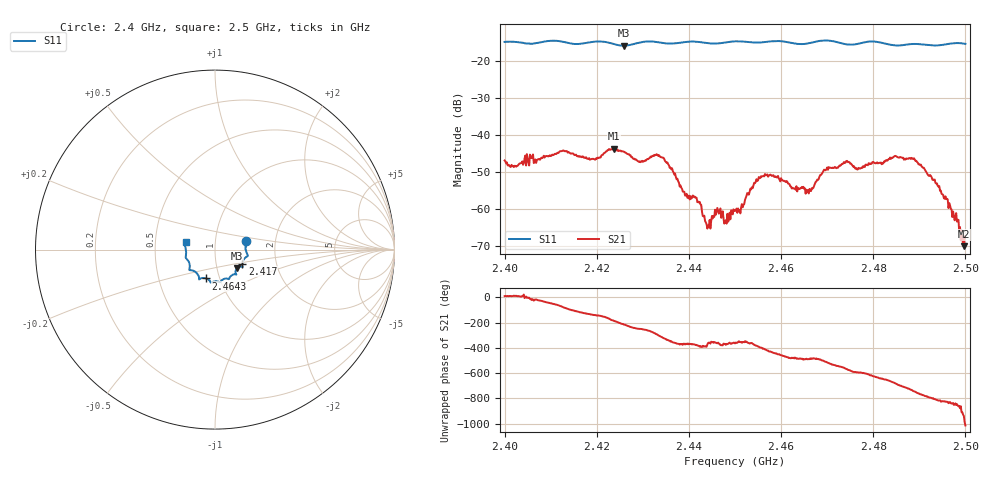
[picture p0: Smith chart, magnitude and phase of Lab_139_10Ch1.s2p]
# Hz S RI R 50
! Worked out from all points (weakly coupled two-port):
!   601 points, 2.4 GHz to 2.5 GHz, reference 50 ohm
!   highest |S21| = -43.74 dB at 2.4237 GHz (marker M1); lowest = -70.0 dB at 2.4997 GHz (marker M2)
!   lowest |S11| = -15.9 dB at 2.4258 GHz (marker M3), VSWR 1.38, Z = 62.3 - j13.2 ohm
!   |S11| at or under -10 dB: start of sweep to end of sweep
!   S12 and S22 are empty: the file has one direction only
!   S11 on the Smith chart (normalised r, x): 2.4 GHz: 1.41, +0.14; 2.417 GHz: 1.34, -0.22; 2.4643 GHz: 0.86, -0.28; 2.5 GHz: 0.72, +0.06
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2.4e9  0.1733 0.0489  0.00444 0.000824  0 0  0 0
2.416667e9  0.1529 -0.0746  -0.00246 -0.00437  0 0  0 0
2.417e9  0.1523 -0.0786  -0.00277 -0.00431  0 0  0 0
2.423667e9  0.1398 -0.0947  -0.00648 0.000525  0 0  0 0
2.425833e9  0.1217 -0.1036  -0.00494 0.00332  0 0  0 0
2.4295e9  0.1164 -0.1343  -0.0015 0.00402  0 0  0 0
2.433333e9  0.1129 -0.1373  0.00258 0.00453  0 0  0 0
2.439333e9  0.0796 -0.1611  0.00151 -0.000172  0 0  0 0
2.442167e9  0.0738 -0.1639  0.00111 -0.000507  0 0  0 0
2.444167e9  0.062 -0.161  0.000598 -2.25e-06  0 0  0 0
2.446167e9  0.0462 -0.1654  0.00103 -5.61e-05  0 0  0 0
2.448167e9  0.0341 -0.1744  0.00063 -8.53e-05  0 0  0 0
2.45e9  0.0288 -0.181  0.000963 -6.25e-05  0 0  0 0
2.456167e9  -0.00796 -0.1781  0.00197 -0.00197  0 0  0 0
2.464333e9  -0.0498 -0.1606  -0.00107 -0.00159  0 0  0 0
2.466667e9  -0.0759 -0.1591  -0.00104 -0.00161  0 0  0 0
2.470333e9  -0.0878 -0.1657  -0.00346 -0.00128  0 0  0 0
2.483333e9  -0.1405 -0.0898  0.00226 0.00415  0 0  0 0
2.490833e9  -0.1624 -0.0354  0.00213 -0.00289  0 0  0 0
2.496167e9  -0.1674 0.0208  -0.000424 -0.00128  0 0  0 0
2.499667e9  -0.1657 0.0408  -0.000246 0.000198  0 0  0 0
2.5e9  -0.164 0.0427  0.000168 0.00038  0 0  0 0
